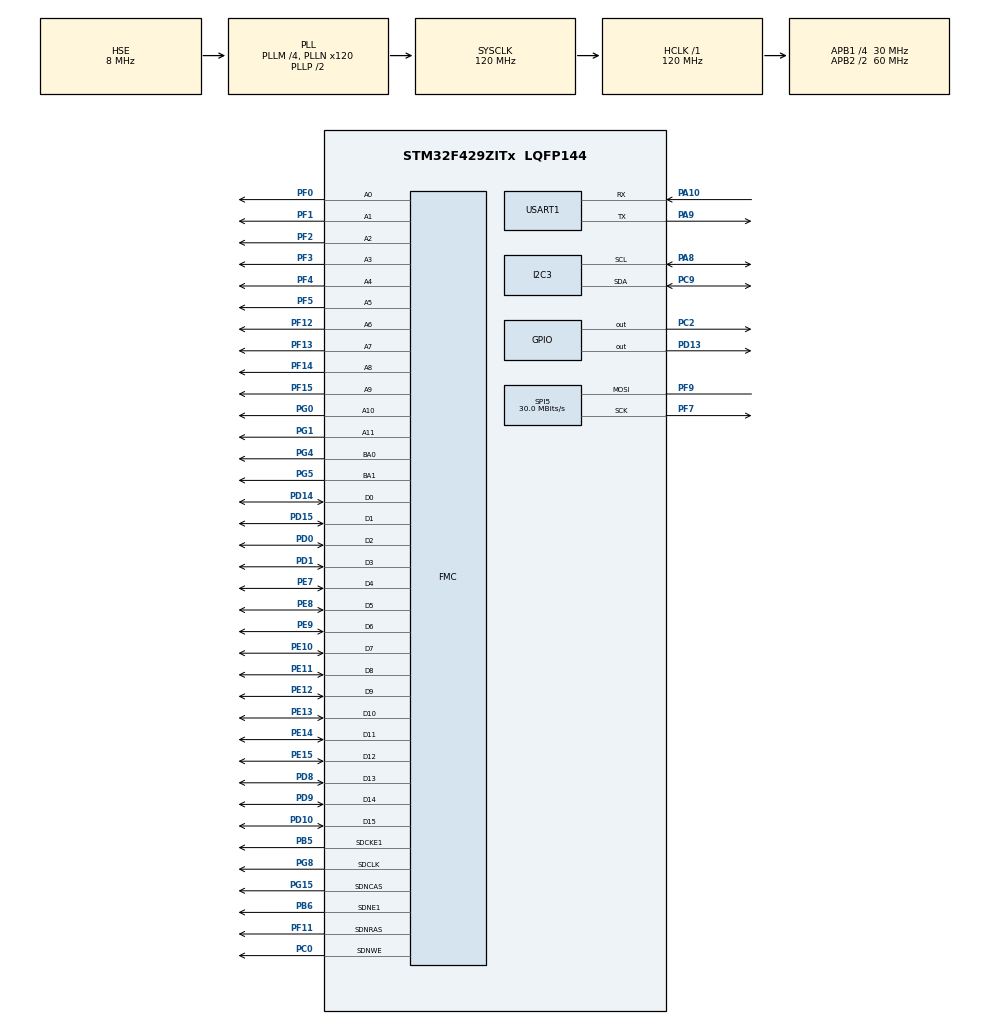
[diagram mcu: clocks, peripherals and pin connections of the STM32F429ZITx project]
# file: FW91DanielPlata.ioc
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FMC.CASLatency1=FMC_SDRAM_CAS_LATENCY_3
FMC.ExitSelfRefreshDelay1=5
FMC.LoadToActiveDelay1=2
FMC.RCDDelay1=1
FMC.RPDelay1=1
FMC.RowCycleDelay1=4
FMC.SDClockPeriod1=FMC_SDRAM_CLOCK_PERIOD_2
FMC.SelfRefreshTime1=3
FMC.WriteRecoveryTime1=2
Mcu.Family=STM32F4
Mcu.Name=STM32F429ZITx
Mcu.Package=LQFP144
NVIC.PriorityGroup=NVIC_PRIORITYGROUP_4
PA10.Mode=Asynchronous
PA10.Signal=USART1_RX
PA8.Mode=I2C
PA8.Signal=I2C3_SCL
PA9.Mode=Asynchronous
PA9.Signal=USART1_TX
PB5.Mode=SdramChipSelect2_1
PB5.Signal=FMC_SDCKE1
PB6.Mode=SdramChipSelect2_1
PB6.Signal=FMC_SDNE1
PC0.Signal=FMC_SDNWE
PC2.Signal=GPIO_Output
PC9.Mode=I2C
PC9.Signal=I2C3_SDA
PD0.Signal=FMC_D2_DA2
PD1.Signal=FMC_D3_DA3
PD10.Signal=FMC_D15_DA15
PD13.Signal=GPIO_Output
PD14.Signal=FMC_D0_DA0
PD15.Signal=FMC_D1_DA1
PD8.Signal=FMC_D13_DA13
PD9.Signal=FMC_D14_DA14
PE0.Signal=FMC_NBL0
PE1.Signal=FMC_NBL1
PE10.Signal=FMC_D7_DA7
PE11.Signal=FMC_D8_DA8
PE12.Signal=FMC_D9_DA9
PE13.Signal=FMC_D10_DA10
PE14.Signal=FMC_D11_DA11
PE15.Signal=FMC_D12_DA12
PE7.Signal=FMC_D4_DA4
PE8.Signal=FMC_D5_DA5
PE9.Signal=FMC_D6_DA6
PF0.Signal=FMC_A0
PF1.Signal=FMC_A1
PF11.Signal=FMC_SDNRAS
PF12.Signal=FMC_A6
PF13.Signal=FMC_A7
PF14.Signal=FMC_A8
PF15.Signal=FMC_A9
PF2.Signal=FMC_A2
PF3.Signal=FMC_A3
PF4.Signal=FMC_A4
PF5.Signal=FMC_A5
PF7.Mode=Simplex_Bidirectional_Master
PF7.Signal=SPI5_SCK
PF9.Mode=Simplex_Bidirectional_Master
PF9.Signal=SPI5_MOSI
PG0.Signal=FMC_A10
PG1.Signal=FMC_A11
PG15.Signal=FMC_SDNCAS
PG2.Signal=FMC_A12
PG4.Signal=FMC_A14_BA0
PG5.Signal=FMC_A15_BA1
PG8.Signal=FMC_SDCLK
PH0/OSC_IN.Mode=HSE-External-Oscillator
PH0/OSC_IN.Signal=RCC_OSC_IN
PH1/OSC_OUT.Mode=HSE-External-Oscillator
PH1/OSC_OUT.Signal=RCC_OSC_OUT
ProjectManager.HeapSize=0x200
ProjectManager.StackSize=0x400
ProjectManager.TargetToolchain=STM32CubeIDE
RCC.48MHZClocksFreq_Value=80000000
RCC.AHBFreq_Value=120000000
RCC.APB1CLKDivider=RCC_HCLK_DIV4
RCC.APB1Freq_Value=30000000
RCC.APB1TimFreq_Value=60000000
RCC.APB2CLKDivider=RCC_HCLK_DIV2
RCC.APB2Freq_Value=60000000
RCC.APB2TimFreq_Value=120000000
RCC.CortexFreq_Value=120000000
RCC.HCLKFreq_Value=120000000
RCC.HSE_VALUE=8000000
RCC.HSI_VALUE=16000000
RCC.LSE_VALUE=32768
RCC.PLLM=4
RCC.PLLN=120
RCC.PLLQ=3
RCC.PLLSAIN=50
RCC.PLLSourceVirtual=RCC_PLLSOURCE_HSE
RCC.SYSCLKFreq_VALUE=120000000
RCC.SYSCLKSource=RCC_SYSCLKSOURCE_PLLCLK
RCC.VCOOutputFreq_Value=240000000
SH.FMC_A0.0=FMC_A0,12b-sda1
SH.FMC_A1.0=FMC_A1,12b-sda1
SH.FMC_A10.0=FMC_A10,12b-sda1
SH.FMC_A11.0=FMC_A11,12b-sda1
SH.FMC_A12.0=FMC_A12
SH.FMC_A14_BA0.0=FMC_BA0,FourSdramBanks1
SH.FMC_A15_BA1.0=FMC_BA1,FourSdramBanks1
SH.FMC_A2.0=FMC_A2,12b-sda1
SH.FMC_A3.0=FMC_A3,12b-sda1
SH.FMC_A4.0=FMC_A4,12b-sda1
SH.FMC_A5.0=FMC_A5,12b-sda1
SH.FMC_A6.0=FMC_A6,12b-sda1
SH.FMC_A7.0=FMC_A7,12b-sda1
SH.FMC_A8.0=FMC_A8,12b-sda1
SH.FMC_A9.0=FMC_A9,12b-sda1
SH.FMC_D0_DA0.0=FMC_D0,sd-16b-d1
SH.FMC_D10_DA10.0=FMC_D10,sd-16b-d1
SH.FMC_D11_DA11.0=FMC_D11,sd-16b-d1
SH.FMC_D12_DA12.0=FMC_D12,sd-16b-d1
SH.FMC_D13_DA13.0=FMC_D13,sd-16b-d1
SH.FMC_D14_DA14.0=FMC_D14,sd-16b-d1
SH.FMC_D15_DA15.0=FMC_D15,sd-16b-d1
SH.FMC_D1_DA1.0=FMC_D1,sd-16b-d1
SH.FMC_D2_DA2.0=FMC_D2,sd-16b-d1
SH.FMC_D3_DA3.0=FMC_D3,sd-16b-d1
SH.FMC_D4_DA4.0=FMC_D4,sd-16b-d1
SH.FMC_D5_DA5.0=FMC_D5,sd-16b-d1
SH.FMC_D6_DA6.0=FMC_D6,sd-16b-d1
SH.FMC_D7_DA7.0=FMC_D7,sd-16b-d1
SH.FMC_D8_DA8.0=FMC_D8,sd-16b-d1
SH.FMC_D9_DA9.0=FMC_D9,sd-16b-d1
SH.FMC_NBL0.0=FMC_NBL0
SH.FMC_NBL1.0=FMC_NBL1
SH.FMC_SDCLK.0=FMC_SDCLK,12b-sda1
SH.FMC_SDNCAS.0=FMC_SDNCAS,12b-sda1
SH.FMC_SDNRAS.0=FMC_SDNRAS,12b-sda1
SH.FMC_SDNWE.0=FMC_SDNWE,12b-sda1
SPI5.CalculateBaudRate=30.0 MBits/s
SPI5.Direction=SPI_DIRECTION_1LINE
SPI5.Mode=SPI_MODE_MASTER
SPI5.VirtualType=VM_MASTER
USART1.VirtualMode=VM_ASYNC
board=STM32F429I-DISC1

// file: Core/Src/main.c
/* USER CODE BEGIN Header */
/**
  ******************************************************************************
  * @file           : main.c
  * @brief          : Main program body
  ******************************************************************************
  * @attention
  *
  * Copyright (c) 2023 STMicroelectronics.
  * All rights reserved.
  *
  * This software is licensed under terms that can be found in the LICENSE file
  * in the root directory of this software component.
  * If no LICENSE file comes with this software, it is provided AS-IS.
  *
  ******************************************************************************
  */
/* USER CODE END Header */
#include "main.h"

/* USER CODE BEGIN Includes */
#include <string.h>
#include <stdio.h>
#include "touch_manager.h"
#include "sdram_manager.h"
#include "lcd_manager.h"
/* USER CODE END Includes */

I2C_HandleTypeDef hi2c3;

SPI_HandleTypeDef hspi5;

UART_HandleTypeDef huart1;

SDRAM_HandleTypeDef hsdram1;

/* USER CODE BEGIN PV */
#ifdef __GNUC__
/* With GCC/RAISONANCE, small printf (option LD Linker->Libraries->Small printf
set to 'Yes') calls __io_putchar() */
#define PUTCHAR_PROTOTYPE int __io_putchar(int ch)
#else
#define PUTCHAR_PROTOTYPE int fputc(int ch, FILE *f)
#endif /* __GNUC__ */

PUTCHAR_PROTOTYPE
{
	/* Place your implementation of fputc here */
	/* e.g. write a character to the USART1 and Loop until the end of transmission */
    HAL_UART_Transmit(&huart1, (uint8_t *) &ch, 1, 0xFFFF);

    return ch;
}
/* USER CODE END PV */

void SystemClock_Config(void);
static void MX_GPIO_Init(void);
static void MX_I2C3_Init(void);
static void MX_USART1_UART_Init(void);
static void MX_FMC_Init(void);
static void MX_SPI5_Init(void);

/* USER CODE BEGIN 0 */
//uint32_t start_address = 0xc0000000; // start address of the SDRAM
uint32_t start_address = 0x0C0000000;

//uint8_t wbuffer[] = {0x1}; // a buffer to store read data
uint8_t tosavevalue = 0xA3;

//uint8_t rbuffer[10];
uint8_t readvalue;

//uint32_t read_size = sizeof(rbuffer); // number of bytes to read
uint32_t read_size = sizeof(tosavevalue);

//uint32_t write_size = sizeof(wbuffer); // number of bytes to write
uint32_t write_size = sizeof(readvalue);

/* USER CODE END 0 */

int main(void)
{

  /* MCU Configuration--------------------------------------------------------*/

  /* Reset of all peripherals, Initializes the Flash interface and the Systick. */
  HAL_Init();

  /* Configure the system clock */
  SystemClock_Config();

  /* Initialize all configured peripherals */
  MX_GPIO_Init();
  MX_I2C3_Init();
  MX_USART1_UART_Init();
  MX_FMC_Init();
  MX_SPI5_Init();
  /* USER CODE BEGIN 2 */

  // write data from buffer into SDRAM using 8-bit mode
  HAL_SDRAM_Write_8b(&hsdram1, &(start_address), &tosavevalue, write_size);
  // read data from SDRAM into buffer using 8-bit mode
  HAL_SDRAM_Read_8b(&hsdram1, &(start_address), &readvalue, read_size);

  /* USER CODE END 2 */

  /* Infinite loop */
  /* USER CODE BEGIN WHILE */
  i2c_touch_init();
  sdram_init_sequence();
  lcd_spi_init();
  HAL_Delay(2000);

  while (1)
  {
	  i2c_touch_handler();
	  lcd_handler_run();
	  HAL_Delay(16);
	  HAL_UART_Transmit(&huart1,readvalue,read_size,10);

    /* USER CODE END WHILE */

  }
}

void SystemClock_Config(void)
{
  RCC_OscInitTypeDef RCC_OscInitStruct = {0};
  RCC_ClkInitTypeDef RCC_ClkInitStruct = {0};

  /** Configure the main internal regulator output voltage
  */
  __HAL_RCC_PWR_CLK_ENABLE();
  __HAL_PWR_VOLTAGESCALING_CONFIG(PWR_REGULATOR_VOLTAGE_SCALE3);

  /** Initializes the RCC Oscillators according to the specified parameters
  * in the RCC_OscInitTypeDef structure.
  */
  RCC_OscInitStruct.OscillatorType = RCC_OSCILLATORTYPE_HSE;
  RCC_OscInitStruct.HSEState = RCC_HSE_ON;
  RCC_OscInitStruct.PLL.PLLState = RCC_PLL_ON;
  RCC_OscInitStruct.PLL.PLLSource = RCC_PLLSOURCE_HSE;
  RCC_OscInitStruct.PLL.PLLM = 4;
  RCC_OscInitStruct.PLL.PLLN = 120;
  RCC_OscInitStruct.PLL.PLLP = RCC_PLLP_DIV2;
  RCC_OscInitStruct.PLL.PLLQ = 3;
  if (HAL_RCC_OscConfig(&RCC_OscInitStruct) != HAL_OK)
  {
    Error_Handler();
  }

  /** Initializes the CPU, AHB and APB buses clocks
  */
  RCC_ClkInitStruct.ClockType = RCC_CLOCKTYPE_HCLK|RCC_CLOCKTYPE_SYSCLK
                              |RCC_CLOCKTYPE_PCLK1|RCC_CLOCKTYPE_PCLK2;
  RCC_ClkInitStruct.SYSCLKSource = RCC_SYSCLKSOURCE_PLLCLK;
  RCC_ClkInitStruct.AHBCLKDivider = RCC_SYSCLK_DIV1;
  RCC_ClkInitStruct.APB1CLKDivider = RCC_HCLK_DIV4;
  RCC_ClkInitStruct.APB2CLKDivider = RCC_HCLK_DIV2;

  if (HAL_RCC_ClockConfig(&RCC_ClkInitStruct, FLASH_LATENCY_3) != HAL_OK)
  {
    Error_Handler();
  }
}

static void MX_I2C3_Init(void)
{

  hi2c3.Instance = I2C3;
  hi2c3.Init.ClockSpeed = 100000;
  hi2c3.Init.DutyCycle = I2C_DUTYCYCLE_2;
  hi2c3.Init.OwnAddress1 = 0;
  hi2c3.Init.AddressingMode = I2C_ADDRESSINGMODE_7BIT;
  hi2c3.Init.DualAddressMode = I2C_DUALADDRESS_DISABLE;
  hi2c3.Init.OwnAddress2 = 0;
  hi2c3.Init.GeneralCallMode = I2C_GENERALCALL_DISABLE;
  hi2c3.Init.NoStretchMode = I2C_NOSTRETCH_DISABLE;
  if (HAL_I2C_Init(&hi2c3) != HAL_OK)
  {
    Error_Handler();
  }

  /** Configure Analogue filter
  */
  if (HAL_I2CEx_ConfigAnalogFilter(&hi2c3, I2C_ANALOGFILTER_ENABLE) != HAL_OK)
  {
    Error_Handler();
  }

  /** Configure Digital filter
  */
  if (HAL_I2CEx_ConfigDigitalFilter(&hi2c3, 0) != HAL_OK)
  {
    Error_Handler();
  }

}

static void MX_SPI5_Init(void)
{

  /* SPI5 parameter configuration*/
  hspi5.Instance = SPI5;
  hspi5.Init.Mode = SPI_MODE_MASTER;
  hspi5.Init.Direction = SPI_DIRECTION_1LINE;
  hspi5.Init.DataSize = SPI_DATASIZE_8BIT;
  hspi5.Init.CLKPolarity = SPI_POLARITY_LOW;
  hspi5.Init.CLKPhase = SPI_PHASE_1EDGE;
  hspi5.Init.NSS = SPI_NSS_SOFT;
  hspi5.Init.BaudRatePrescaler = SPI_BAUDRATEPRESCALER_2;
  hspi5.Init.FirstBit = SPI_FIRSTBIT_MSB;
  hspi5.Init.TIMode = SPI_TIMODE_DISABLE;
  hspi5.Init.CRCCalculation = SPI_CRCCALCULATION_DISABLE;
  hspi5.Init.CRCPolynomial = 10;
  if (HAL_SPI_Init(&hspi5) != HAL_OK)
  {
    Error_Handler();
  }

}

static void MX_USART1_UART_Init(void)
{

  huart1.Instance = USART1;
  huart1.Init.BaudRate = 115200;
  huart1.Init.WordLength = UART_WORDLENGTH_8B;
  huart1.Init.StopBits = UART_STOPBITS_1;
  huart1.Init.Parity = UART_PARITY_NONE;
  huart1.Init.Mode = UART_MODE_TX_RX;
  huart1.Init.HwFlowCtl = UART_HWCONTROL_NONE;
  huart1.Init.OverSampling = UART_OVERSAMPLING_16;
  if (HAL_UART_Init(&huart1) != HAL_OK)
  {
    Error_Handler();
  }

}

/* FMC initialization function */
static void MX_FMC_Init(void)
{

  FMC_SDRAM_TimingTypeDef SdramTiming = {0};

  /** Perform the SDRAM1 memory initialization sequence
  */
  hsdram1.Instance = FMC_SDRAM_DEVICE;
  /* hsdram1.Init */
  hsdram1.Init.SDBank = FMC_SDRAM_BANK2;
  hsdram1.Init.ColumnBitsNumber = FMC_SDRAM_COLUMN_BITS_NUM_8;
  hsdram1.Init.RowBitsNumber = FMC_SDRAM_ROW_BITS_NUM_12;
  hsdram1.Init.MemoryDataWidth = FMC_SDRAM_MEM_BUS_WIDTH_16;
  hsdram1.Init.InternalBankNumber = FMC_SDRAM_INTERN_BANKS_NUM_4;
  hsdram1.Init.CASLatency = FMC_SDRAM_CAS_LATENCY_3;
  hsdram1.Init.WriteProtection = FMC_SDRAM_WRITE_PROTECTION_DISABLE;
  hsdram1.Init.SDClockPeriod = FMC_SDRAM_CLOCK_PERIOD_2;
  hsdram1.Init.ReadBurst = FMC_SDRAM_RBURST_DISABLE;
  hsdram1.Init.ReadPipeDelay = FMC_SDRAM_RPIPE_DELAY_0;
  /* SdramTiming */
  SdramTiming.LoadToActiveDelay = 2;
  SdramTiming.ExitSelfRefreshDelay = 5;
  SdramTiming.SelfRefreshTime = 3;
  SdramTiming.RowCycleDelay = 4;
  SdramTiming.WriteRecoveryTime = 2;
  SdramTiming.RPDelay = 1;
  SdramTiming.RCDDelay = 1;

  if (HAL_SDRAM_Init(&hsdram1, &SdramTiming) != HAL_OK)
  {
    Error_Handler( );
  }

}

static void MX_GPIO_Init(void)
{
  GPIO_InitTypeDef GPIO_InitStruct = {0};

  /* GPIO Ports Clock Enable */
  __HAL_RCC_GPIOF_CLK_ENABLE();
  __HAL_RCC_GPIOH_CLK_ENABLE();
  __HAL_RCC_GPIOC_CLK_ENABLE();
  __HAL_RCC_GPIOG_CLK_ENABLE();
  __HAL_RCC_GPIOE_CLK_ENABLE();
  __HAL_RCC_GPIOD_CLK_ENABLE();
  __HAL_RCC_GPIOA_CLK_ENABLE();
  __HAL_RCC_GPIOB_CLK_ENABLE();

  /*Configure GPIO pin Output Level */
  HAL_GPIO_WritePin(GPIOC, GPIO_PIN_2, GPIO_PIN_RESET);

  /*Configure GPIO pin Output Level */
  HAL_GPIO_WritePin(GPIOD, GPIO_PIN_13, GPIO_PIN_RESET);

  /*Configure GPIO pin : PC2 */
  GPIO_InitStruct.Pin = GPIO_PIN_2;
  GPIO_InitStruct.Mode = GPIO_MODE_OUTPUT_PP;
  GPIO_InitStruct.Pull = GPIO_NOPULL;
  GPIO_InitStruct.Speed = GPIO_SPEED_FREQ_LOW;
  HAL_GPIO_Init(GPIOC, &GPIO_InitStruct);

  /*Configure GPIO pin : PD13 */
  GPIO_InitStruct.Pin = GPIO_PIN_13;
  GPIO_InitStruct.Mode = GPIO_MODE_OUTPUT_PP;
  GPIO_InitStruct.Pull = GPIO_NOPULL;
  GPIO_InitStruct.Speed = GPIO_SPEED_FREQ_LOW;
  HAL_GPIO_Init(GPIOD, &GPIO_InitStruct);

}

void Error_Handler(void)
{
  __disable_irq();
  while (1)
  {
  }
}
